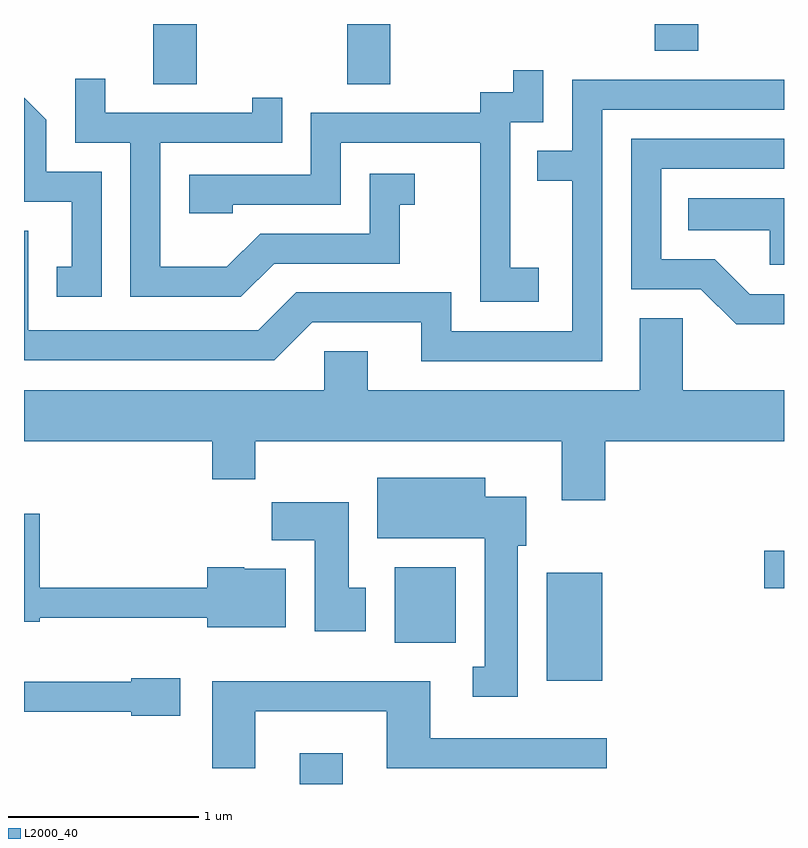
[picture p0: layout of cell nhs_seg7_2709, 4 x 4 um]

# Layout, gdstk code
import gdstk
lib = gdstk.Library(unit=1e-6, precision=1e-09)
def R(c, l, rs):  # rectangles x0, y0, x1, y1
    for r in rs: c.add(gdstk.rectangle(r[:2], r[2:], *l))
def P(c, l, *ps):  # polygons
    for p in ps: c.add(gdstk.Polygon(p, *l))
L2000_40 = (2000, 40)

nhs_seg7_2709 = lib.new_cell('nhs_seg7_2709')
R(nhs_seg7_2709, L2000_40, [(269.061,1750.252,269.289,1750.414), (270.361,1750.796,270.654,1751.364), (269.561,1750.996,269.884,1751.394), (271.506,1751.281,271.611,1751.479), (268.291,1753.936,268.519,1754.252), (269.311,1753.936,269.539,1754.252), (270.931,1754.111,271.159,1754.252)])
P(nhs_seg7_2709, L2000_40, [(270.319,1752.969),(270.169,1752.969),(270.169,1753.736),(270.344,1753.736),(270.344,1754.008),(270.186,1754.008),(270.186,1753.894),(270.011,1753.894),(270.011,1753.784),(269.121,1753.784),(269.121,1753.459),(268.481,1753.459),(268.481,1753.256),(268.709,1753.256),(268.709,1753.301),(269.279,1753.301),(269.279,1753.626),(270.011,1753.626),(270.011,1752.791),(270.319,1752.791)],
  [(268.927,1752.991),(269.589,1752.991),(269.589,1753.301),(269.668,1753.301),(269.668,1753.464),(269.431,1753.464),(269.431,1753.149),(268.854,1753.149),(268.679,1752.974),(268.329,1752.974),(268.329,1753.626),(268.969,1753.626),(268.969,1753.863),(268.811,1753.863),(268.811,1753.784),(268.039,1753.784),(268.039,1753.963),(267.881,1753.963),(267.881,1753.626),(268.171,1753.626),(268.171,1752.816),(268.752,1752.816)],
  [(270.654,1753.801),(271.611,1753.801),(271.611,1753.959),(270.496,1753.959),(270.496,1753.584),(270.313,1753.584),(270.313,1753.426),(270.496,1753.426),(270.496,1752.634),(269.859,1752.634),(269.859,1752.839),(269.044,1752.839),(268.844,1752.639),(267.634,1752.639),(267.634,1753.164),(267.611,1753.164),(267.611,1752.481),(268.927,1752.481),(269.127,1752.681),(269.701,1752.681),(269.701,1752.476),(270.654,1752.476)],
  [(268.019,1753.474),(267.729,1753.474),(267.729,1753.747),(267.611,1753.865),(267.611,1753.316),(267.861,1753.316),(267.861,1752.974),(267.783,1752.974),(267.783,1752.816),(268.019,1752.816)],
  [(271.611,1752.829),(271.432,1752.829),(271.247,1753.014),(270.964,1753.014),(270.964,1753.491),(271.611,1753.491),(271.611,1753.649),(270.806,1753.649),(270.806,1752.856),(271.174,1752.856),(271.359,1752.671),(271.611,1752.671)],
  [(271.611,1753.334),(271.108,1753.334),(271.108,1753.166),(271.536,1753.166),(271.536,1752.986),(271.611,1752.986)],
  [(270.669,1752.056),(271.611,1752.056),(271.611,1752.324),(271.079,1752.324),(271.079,1752.704),(270.851,1752.704),(270.851,1752.324),(269.419,1752.324),(269.419,1752.529),(269.191,1752.529),(269.191,1752.324),(267.611,1752.324),(267.611,1752.056),(268.601,1752.056),(268.601,1751.856),(268.829,1751.856),(268.829,1752.056),(270.441,1752.056),(270.441,1751.746),(270.669,1751.746)],
  [(270.209,1751.506),(270.254,1751.506),(270.254,1751.764),(270.039,1751.764),(270.039,1751.864),(269.471,1751.864),(269.471,1751.546),(270.036,1751.546),(270.036,1750.869),(269.973,1750.869),(269.973,1750.711),(270.209,1750.711)],
  [(269.409,1751.284),(269.319,1751.284),(269.319,1751.734),(268.916,1751.734),(268.916,1751.536),(269.141,1751.536),(269.141,1751.056),(269.409,1751.056)],
  [(268.989,1751.384),(268.77,1751.384),(268.77,1751.394),(268.576,1751.394),(268.576,1751.284),(267.694,1751.284),(267.694,1751.674),(267.611,1751.674),(267.611,1751.106),(267.694,1751.106),(267.694,1751.126),(268.576,1751.126),(268.576,1751.076),(268.989,1751.076)],
  [(268.434,1750.809),(268.176,1750.809),(268.176,1750.789),(267.611,1750.789),(267.611,1750.631),(268.176,1750.631),(268.176,1750.611),(268.434,1750.611)],
  [(268.829,1750.636),(269.521,1750.636),(269.521,1750.336),(270.678,1750.336),(270.678,1750.494),(269.749,1750.494),(269.749,1750.794),(268.601,1750.794),(268.601,1750.336),(268.829,1750.336)])

lib.write_gds('nhs_seg7_2709.gds')
